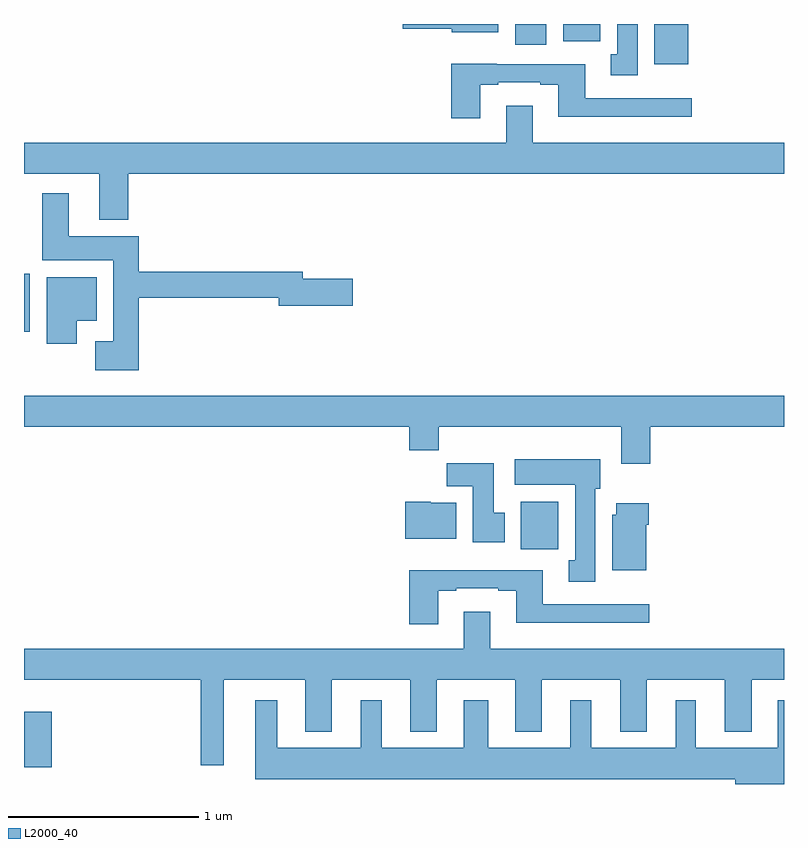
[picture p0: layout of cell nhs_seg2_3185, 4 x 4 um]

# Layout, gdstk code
import gdstk
lib = gdstk.Library(unit=1e-6, precision=1e-09)
def R(c, l, rs):  # rectangles x0, y0, x1, y1
    for r in rs: c.add(gdstk.rectangle(r[:2], r[2:], *l))
def P(c, l, *ps):  # polygons
    for p in ps: c.add(gdstk.Polygon(p, *l))
L2000_40 = (2000, 40)

nhs_seg2_3185 = lib.new_cell('nhs_seg2_3185')
R(nhs_seg2_3185, L2000_40, [(279,601.889,279.146,602.179), (281.615,603.036,281.811,603.286), (279,604.181,279.031,604.486), (282.317,605.588,282.496,605.8), (281.585,605.691,281.749,605.8), (281.837,605.708,282.034,605.8)])
P(nhs_seg2_3185, L2000_40, [(281.497,605.8),(280.994,605.8),(280.994,605.774),(281.25,605.774),(281.25,605.756),(281.497,605.756)],
  [(282.229,605.8),(282.122,605.8),(282.122,605.642),(282.089,605.642),(282.089,605.529),(282.229,605.529)],
  [(281.401,605.481),(281.497,605.481),(281.497,605.493),(281.717,605.493),(281.717,605.481),(281.813,605.481),(281.813,605.312),(282.514,605.312),(282.514,605.409),(281.953,605.409),(281.953,605.589),(281.489,605.589),(281.489,605.59),(281.249,605.59),(281.249,605.304),(281.401,605.304)],
  [(279.548,605.012),(283,605.012),(283,605.176),(281.677,605.176),(281.677,605.371),(281.537,605.371),(281.537,605.176),(279,605.176),(279,605.012),(279.395,605.012),(279.395,604.769),(279.548,604.769)],
  [(279.605,604.36),(280.34,604.36),(280.34,604.318),(280.729,604.318),(280.729,604.46),(280.468,604.46),(280.468,604.496),(279.605,604.496),(279.605,604.684),(279.235,604.684),(279.235,604.909),(279.095,604.909),(279.095,604.556),(279.47,604.556),(279.47,604.129),(279.375,604.129),(279.375,603.977),(279.605,603.977)],
  [(279.277,604.238),(279.382,604.238),(279.382,604.468),(279.119,604.468),(279.119,604.116),(279.277,604.116)],
  [(282.296,603.68),(283,603.68),(283,603.844),(279,603.844),(279,603.68),(281.027,603.68),(281.027,603.556),(281.183,603.556),(281.183,603.68),(282.143,603.68),(282.143,603.486),(282.296,603.486)],
  [(282.007,603.354),(282.034,603.354),(282.034,603.508),(281.583,603.508),(281.583,603.374),(281.9,603.374),(281.9,602.977),(281.867,602.977),(281.867,602.865),(282.007,602.865)],
  [(281.53,603.228),(281.473,603.228),(281.473,603.487),(281.224,603.487),(281.224,603.368),(281.363,603.368),(281.363,603.072),(281.53,603.072)],
  [(281.275,603.28),(281.142,603.28),(281.142,603.286),(281.006,603.286),(281.006,603.092),(281.275,603.092)],
  [(282.274,603.164),(282.287,603.164),(282.287,603.277),(282.116,603.277),(282.116,603.216),(282.095,603.216),(282.095,602.924),(282.274,602.924)],
  [(281.179,602.817),(281.275,602.817),(281.275,602.829),(281.495,602.829),(281.495,602.817),(281.591,602.817),(281.591,602.648),(282.292,602.648),(282.292,602.745),(281.731,602.745),(281.731,602.926),(281.027,602.926),(281.027,602.64),(281.179,602.64)],
  [(280.051,602.348),(280.481,602.348),(280.481,602.075),(280.621,602.075),(280.621,602.348),(281.033,602.348),(281.033,602.075),(281.173,602.075),(281.173,602.348),(281.585,602.348),(281.585,602.075),(281.725,602.075),(281.725,602.348),(282.137,602.348),(282.137,602.075),(282.277,602.075),(282.277,602.348),(282.689,602.348),(282.689,602.075),(282.829,602.075),(282.829,602.348),(283,602.348),(283,602.512),(281.455,602.512),(281.455,602.707),(281.315,602.707),(281.315,602.512),(279,602.512),(279,602.348),(279.93,602.348),(279.93,601.899),(280.051,601.899)],
  [(283,602.242),(282.968,602.242),(282.968,601.99),(282.535,601.99),(282.535,602.242),(282.431,602.242),(282.431,601.99),(281.986,601.99),(281.986,602.242),(281.876,602.242),(281.876,601.99),(281.443,601.99),(281.443,602.242),(281.315,602.242),(281.315,601.99),(280.882,601.99),(280.882,602.242),(280.772,602.242),(280.772,601.99),(280.333,601.99),(280.333,602.242),(280.217,602.242),(280.217,601.826),(282.743,601.826),(282.743,601.8),(283,601.8)])

lib.write_gds('nhs_seg2_3185.gds')
